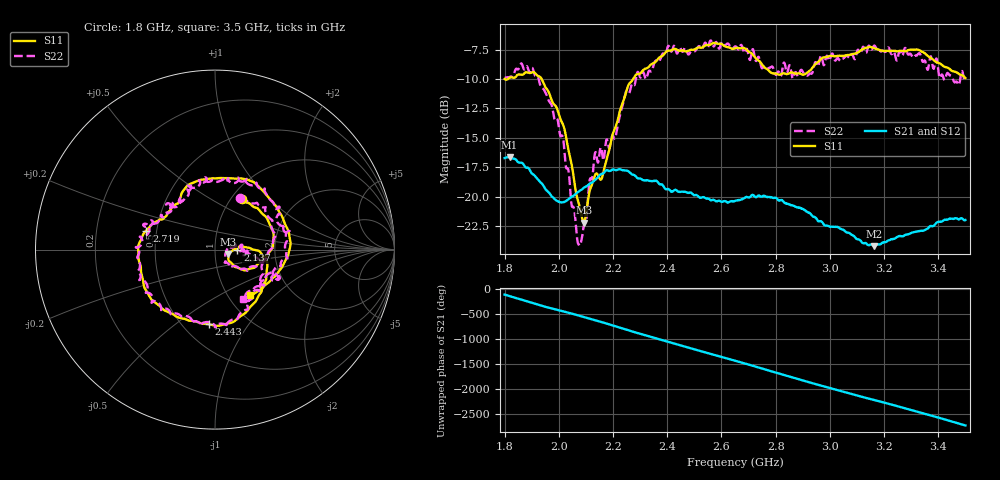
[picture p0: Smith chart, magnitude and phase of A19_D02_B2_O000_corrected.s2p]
! Created with skrf 1.9.0 (http://scikit-rf.org).
# Hz S RI R 50.0
!freq ReS11 ImS11 ReS21 ImS21 ReS12 ImS12 ReS22 ImS22
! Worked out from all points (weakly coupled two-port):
!   1601 points, 1.8 GHz to 3.5 GHz, reference 50 ohm
!   highest |S21| = -16.65 dB at 1.818 GHz (marker M1); lowest = -24.2 dB at 3.163 GHz (marker M2)
!   lowest |S11| = -22.2 dB at 2.093 GHz (marker M3), VSWR 1.17, Z = 57.9 - j2.78 ohm
!   |S11| at or under -10 dB: 1.8 GHz to 1.812 GHz (11.87 MHz wide, 0.657 % of centre); 1.937 GHz to 2.274 GHz (337.4 MHz wide, 16 % of centre)
!   |S22| runs from -24.2 to -6.7 dB; largest |S21 - S12| = 0.0024
!   S11 on the Smith chart (normalised r, x): 1.8 GHz: 1.12, +0.70; 2.137 GHz: 1.29, -0.01; 2.443 GHz: 0.66, -0.67; 2.719 GHz: 0.44, +0.11; 3.5 GHz: 1.27, -0.71
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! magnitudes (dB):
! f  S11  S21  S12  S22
! 1.8 GHz  -10.0  -16.7  -16.7  -9.9
! 1.818 GHz  -9.9  -16.6  -16.7  -9.8
! 1.902 GHz  -9.4  -18.1  -18.0  -9.1
! 1.968 GHz  -11.4  -19.8  -19.8  -12.0
! 2.02 GHz  -14.2  -20.5  -20.5  -15.9
! 2.07 GHz  -20.3  -19.6  -19.6  -23.9
! 2.084 GHz  -21.6  -19.4  -19.4  -23.7
! 2.093 GHz  -22.2  -19.2  -19.3  -22.4
! 2.137 GHz  -18.1  -18.5  -18.5  -16.3
! 2.161 GHz  -18.2  -18.0  -18.0  -16.6
! 2.209 GHz  -14.1  -17.8  -17.7  -14.9
! 2.259 GHz  -10.4  -17.9  -17.9  -11.2
! 2.367 GHz  -8.3  -18.8  -18.8  -8.5
! 2.443 GHz  -7.6  -19.6  -19.6  -7.4
! 2.65 GHz  -7.4  -20.4  -20.3  -7.2
! 2.719 GHz  -8.0  -19.9  -19.8  -7.7
! 2.79 GHz  -9.5  -20.1  -20.1  -9.0
! 2.934 GHz  -9.1  -21.6  -21.6  -9.5
! 3.163 GHz  -7.4  -24.2  -24.2  -7.2
! 3.217 GHz  -7.6  -23.7  -23.7  -7.3
! 3.327 GHz  -7.5  -22.9  -22.9  -7.8
! 3.5 GHz  -9.9  -22.0  -22.0  -10.0
